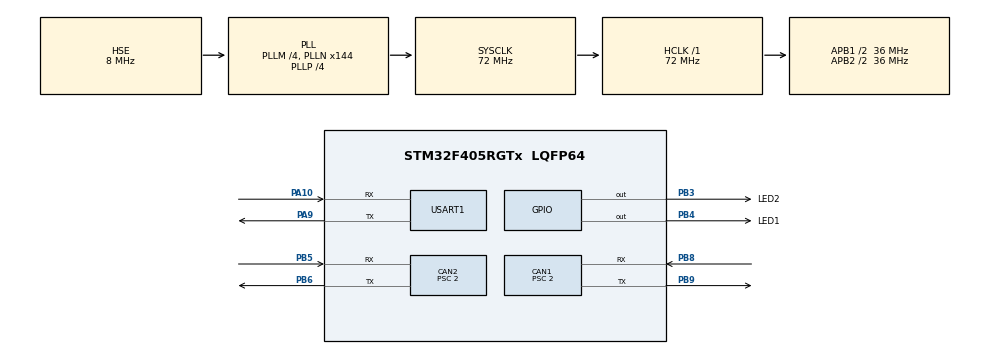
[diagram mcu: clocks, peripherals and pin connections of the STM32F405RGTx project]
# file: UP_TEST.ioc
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CAN1.BS1=CAN_BS1_9TQ
CAN1.BS2=CAN_BS2_8TQ
CAN1.CalculateBaudRate=1000000
CAN1.CalculateTimeBit=1000
CAN1.CalculateTimeQuantum=55.55555555555556
CAN1.Prescaler=2
CAN2.BS1=CAN_BS1_9TQ
CAN2.BS2=CAN_BS2_8TQ
CAN2.CalculateBaudRate=1000000
CAN2.CalculateTimeBit=1000
CAN2.CalculateTimeQuantum=55.55555555555556
CAN2.Prescaler=2
Mcu.Family=STM32F4
Mcu.Name=STM32F405RGTx
Mcu.Package=LQFP64
NVIC.CAN1_RX0_IRQn=true\:1\:0\:true\:false\:true\:true\:true\:true
NVIC.CAN1_RX1_IRQn=true\:1\:0\:true\:false\:true\:true\:true\:true
NVIC.CAN2_RX0_IRQn=true\:1\:0\:true\:false\:true\:true\:true\:true
NVIC.CAN2_RX1_IRQn=true\:1\:0\:true\:false\:true\:true\:true\:true
NVIC.PriorityGroup=NVIC_PRIORITYGROUP_4
NVIC.USART1_IRQn=true\:0\:0\:false\:false\:true\:true\:true\:true
PA10.Mode=Asynchronous
PA10.Signal=USART1_RX
PA13.Mode=Serial_Wire
PA13.Signal=SYS_JTMS-SWDIO
PA14.Mode=Serial_Wire
PA14.Signal=SYS_JTCK-SWCLK
PA9.Mode=Asynchronous
PA9.Signal=USART1_TX
PB3.GPIO_Label=LED2
PB3.Signal=GPIO_Output
PB4.GPIO_Label=LED1
PB4.Signal=GPIO_Output
PB5.Mode=CAN_Activate
PB5.Signal=CAN2_RX
PB6.Mode=CAN_Activate
PB6.Signal=CAN2_TX
PB8.Mode=CAN_Activate
PB8.Signal=CAN1_RX
PB9.Mode=CAN_Activate
PB9.Signal=CAN1_TX
PH0-OSC_IN.Mode=HSE-External-Oscillator
PH0-OSC_IN.Signal=RCC_OSC_IN
PH1-OSC_OUT.Mode=HSE-External-Oscillator
PH1-OSC_OUT.Signal=RCC_OSC_OUT
ProjectManager.HeapSize=0x200
ProjectManager.StackSize=0x400
ProjectManager.TargetToolchain=STM32CubeIDE
RCC.48MHZClocksFreq_Value=72000000
RCC.AHBFreq_Value=72000000
RCC.APB1CLKDivider=RCC_HCLK_DIV2
RCC.APB1Freq_Value=36000000
RCC.APB1TimFreq_Value=72000000
RCC.APB2CLKDivider=RCC_HCLK_DIV2
RCC.APB2Freq_Value=36000000
RCC.APB2TimFreq_Value=72000000
RCC.CortexFreq_Value=72000000
RCC.HCLKFreq_Value=72000000
RCC.HSE_VALUE=8000000
RCC.HSI_VALUE=16000000
RCC.LSE_VALUE=32768
RCC.PLLM=4
RCC.PLLN=144
RCC.PLLP=RCC_PLLP_DIV4
RCC.PLLSourceVirtual=RCC_PLLSOURCE_HSE
RCC.SYSCLKFreq_VALUE=72000000
RCC.SYSCLKSource=RCC_SYSCLKSOURCE_PLLCLK
RCC.VCOOutputFreq_Value=288000000
USART1.VirtualMode=VM_ASYNC
board=custom

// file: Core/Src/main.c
/* USER CODE BEGIN Header */
/**
  ******************************************************************************
  * @file           : main.c
  * @brief          : Main program body
  ******************************************************************************
  * @attention
  *
  * Copyright (c) 2022 STMicroelectronics.
  * All rights reserved.
  *
  * This software is licensed under terms that can be found in the LICENSE file
  * in the root directory of this software component.
  * If no LICENSE file comes with this software, it is provided AS-IS.
  *
  ******************************************************************************
  */
/* USER CODE END Header */
#include "main.h"
#include "can.h"
#include "usart.h"
#include "gpio.h"

/* USER CODE BEGIN PV */
extern uint8_t  USART1_RX_BUF[200];
extern uint8_t  USART1_RX_FLAG;
extern uint32_t USART1_RX_CNT;
extern uint8_t  USART1_RX_TEMP[1];

extern uint8_t CAN1_Rx_data[8];
extern uint8_t CAN1_Tx_data[8];
extern uint8_t CAN2_Rx_data[8];
extern uint8_t CAN2_Tx_data[8];
extern uint8_t CAN_FLAG;

extern Tmotor motor1;
extern Tmotor motor2;
extern Tmotor motor3;
extern Tmotor motor4;
/* USER CODE END PV */

void SystemClock_Config(void);

/* USER CODE BEGIN 0 */
#ifdef __GNUC__
#define PUTCHAR_PROTOTYPE int __io_putchar(int ch)
#else
#define PUTCHAR_PROTOTYPE int fputc(int ch, FILE *f)
#endif
PUTCHAR_PROTOTYPE
{
	HAL_UART_Transmit(&huart1, (uint8_t *)&ch, 1, 0xFFFF);
	return ch;
}
/* USER CODE END 0 */

int main(void)
{

  /* MCU Configuration--------------------------------------------------------*/

  /* Reset of all peripherals, Initializes the Flash interface and the Systick. */
  HAL_Init();

  /* Configure the system clock */
  SystemClock_Config();

  /* Initialize all configured peripherals */
  MX_GPIO_Init();
  MX_USART1_UART_Init();
  MX_CAN1_Init();
  MX_CAN2_Init();
  /* USER CODE BEGIN 2 */
  HAL_UART_Receive_IT(&huart1,USART1_RX_TEMP, sizeof(USART1_RX_TEMP));

  int flag = 0;
  int led = 1;
  uint8_t ID = 1;
	motor_enable(ID);

  /* USER CODE END 2 */

  /* Infinite loop */
  /* USER CODE BEGIN WHILE */
  while (1)
  {
	  if(led){
		flag=!flag;
		LEDRGB_RED(flag);
		LEDRGB_BLUE(!flag);
	  }

//	CAN_TxMeg(ID, TxData,8);

	HAL_Delay(1000);

	if( USART1_RX_FLAG){
//		printf("\nUART1: ");
//		HAL_UART_Transmit(&huart1, USART1_RX_BUF, USART1_RX_CNT, 0xff);

		if(USART1_RX_BUF[0]=='E'){
			motor_disable(ID);
		}
		if(USART1_RX_BUF[0]=='E'){
			motor_disable(ID);
		}
		if(USART1_RX_BUF[0]=='P'){
			int position = USART1_RX_BUF[1] - '0';
			pack_TX(ID, position, 0.1, 1, 0.2, 0);
		}

		for( int i = 0; i<USART1_RX_CNT; i ++){
			USART1_RX_BUF[i] = 0;
		}

		USART1_RX_CNT = 0;
		USART1_RX_FLAG = 0;
	}
	if(CAN_FLAG){
		motor_setdata(CAN_FLAG, CAN1_Rx_data);

		printf("\nID:%d positon:%f velocity:%f current:%f\n",motor1.ID,motor1.position,motor1.velocity,motor1.current);
//		printf("\nCAN_RX:");
//		for(int i=0; i<6; i++){
//			printf(" %x ", CAN1_Rx_data[i]);
//		}
		CAN_FLAG = 0;
	}
    /* USER CODE END WHILE */

  }
}

void SystemClock_Config(void)
{
  RCC_OscInitTypeDef RCC_OscInitStruct = {0};
  RCC_ClkInitTypeDef RCC_ClkInitStruct = {0};

  /** Configure the main internal regulator output voltage
  */
  __HAL_RCC_PWR_CLK_ENABLE();
  __HAL_PWR_VOLTAGESCALING_CONFIG(PWR_REGULATOR_VOLTAGE_SCALE1);

  /** Initializes the RCC Oscillators according to the specified parameters
  * in the RCC_OscInitTypeDef structure.
  */
  RCC_OscInitStruct.OscillatorType = RCC_OSCILLATORTYPE_HSE;
  RCC_OscInitStruct.HSEState = RCC_HSE_ON;
  RCC_OscInitStruct.PLL.PLLState = RCC_PLL_ON;
  RCC_OscInitStruct.PLL.PLLSource = RCC_PLLSOURCE_HSE;
  RCC_OscInitStruct.PLL.PLLM = 4;
  RCC_OscInitStruct.PLL.PLLN = 144;
  RCC_OscInitStruct.PLL.PLLP = RCC_PLLP_DIV4;
  RCC_OscInitStruct.PLL.PLLQ = 4;
  if (HAL_RCC_OscConfig(&RCC_OscInitStruct) != HAL_OK)
  {
    Error_Handler();
  }

  /** Initializes the CPU, AHB and APB buses clocks
  */
  RCC_ClkInitStruct.ClockType = RCC_CLOCKTYPE_HCLK|RCC_CLOCKTYPE_SYSCLK
                              |RCC_CLOCKTYPE_PCLK1|RCC_CLOCKTYPE_PCLK2;
  RCC_ClkInitStruct.SYSCLKSource = RCC_SYSCLKSOURCE_PLLCLK;
  RCC_ClkInitStruct.AHBCLKDivider = RCC_SYSCLK_DIV1;
  RCC_ClkInitStruct.APB1CLKDivider = RCC_HCLK_DIV2;
  RCC_ClkInitStruct.APB2CLKDivider = RCC_HCLK_DIV2;

  if (HAL_RCC_ClockConfig(&RCC_ClkInitStruct, FLASH_LATENCY_2) != HAL_OK)
  {
    Error_Handler();
  }
}

void Error_Handler(void)
{
  __disable_irq();
  while (1)
  {
  }
}
